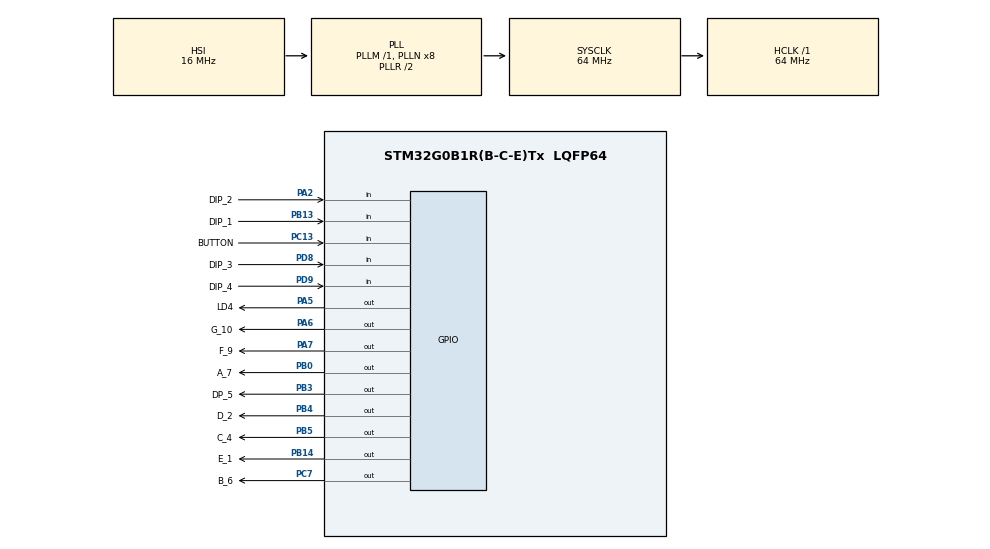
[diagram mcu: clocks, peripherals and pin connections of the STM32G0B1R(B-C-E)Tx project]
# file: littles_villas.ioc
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Mcu.Family=STM32G0
Mcu.Name=STM32G0B1R(B-C-E)Tx
Mcu.Package=LQFP64
PA13.Mode=Serial_Wire
PA13.Signal=SYS_SWDIO
PA14-BOOT0.Mode=Serial_Wire
PA14-BOOT0.Signal=SYS_SWCLK
PA2.GPIO_Label=DIP_2
PA2.GPIO_PuPd=GPIO_PULLUP
PA2.Signal=GPIO_Input
PA5.GPIO_Label=LD4
PA5.GPIO_Speed=GPIO_SPEED_FREQ_VERY_HIGH
PA5.Signal=GPIO_Output
PA6.GPIO_Label=G_10
PA6.Signal=GPIO_Output
PA7.GPIO_Label=F_9
PA7.Signal=GPIO_Output
PB0.GPIO_Label=A_7
PB0.Signal=GPIO_Output
PB13.GPIO_Label=DIP_1
PB13.GPIO_PuPd=GPIO_PULLUP
PB13.Signal=GPIO_Input
PB14.GPIO_Label=E_1
PB14.Signal=GPIO_Output
PB3.GPIO_Label=DP_5
PB3.Signal=GPIO_Output
PB4.GPIO_Label=D_2
PB4.Signal=GPIO_Output
PB5.GPIO_Label=C_4
PB5.Signal=GPIO_Output
PC13.GPIO_Label=BUTTON
PC13.Signal=GPIO_Input
PC7.GPIO_Label=B_6
PC7.Signal=GPIO_Output
PD8.GPIO_Label=DIP_3
PD8.GPIO_PuPd=GPIO_PULLUP
PD8.Signal=GPIO_Input
PD9.GPIO_Label=DIP_4
PD9.GPIO_PuPd=GPIO_PULLUP
PD9.Signal=GPIO_Input
ProjectManager.HeapSize=0x200
ProjectManager.StackSize=0x400
ProjectManager.TargetToolchain=STM32CubeIDE
RCC.ADCFreq_Value=64000000
RCC.AHBFreq_Value=64000000
RCC.CortexFreq_Value=64000000
RCC.EXTERNAL_CLOCK_VALUE=48000
RCC.HCLKFreq_Value=64000000
RCC.HSE_VALUE=8000000
RCC.HSI48_VALUE=48000000
RCC.HSI_VALUE=16000000
RCC.LSE_VALUE=32768
RCC.SYSCLKFreq_VALUE=64000000
RCC.SYSCLKSource=RCC_SYSCLKSOURCE_PLLCLK
RCC.USBFreq_Value=48000000
RCC.VCOOutputFreq_Value=128000000
VP_SYS_VS_DBSignals.Mode=DisableDeadBatterySignals
board=custom

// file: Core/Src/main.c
/* USER CODE BEGIN Header */
/**
  ******************************************************************************
  * @file           : main.c
  * @brief          : Main program body
  ******************************************************************************
  * @attention
  *
  * Copyright (c) 2022 STMicroelectronics.
  * All rights reserved.
  *
  * This software is licensed under terms that can be found in the LICENSE file
  * in the root directory of this software component.
  * If no LICENSE file comes with this software, it is provided AS-IS.
  *
  ******************************************************************************
  */
/* USER CODE END Header */
#include "main.h"

/* USER CODE BEGIN PV */
uint16_t soma;
uint8_t p_1;
uint8_t p_2;
uint8_t p_3;
uint8_t p_4;

/* USER CODE END PV */

void SystemClock_Config(void);
static void MX_GPIO_Init(void);

int main(void)
{

  /* MCU Configuration--------------------------------------------------------*/

  /* Reset of all peripherals, Initializes the Flash interface and the Systick. */
  HAL_Init();

  /* Configure the system clock */
  SystemClock_Config();

  /* Initialize all configured peripherals */
  MX_GPIO_Init();

  /* Infinite loop */
  /* USER CODE BEGIN WHILE */
  while (1)
  {
	p_1 = HAL_GPIO_ReadPin(DIP_1_GPIO_Port, DIP_1_Pin)*8;
	p_2 = HAL_GPIO_ReadPin(DIP_2_GPIO_Port, DIP_2_Pin)*4;
	p_3 = HAL_GPIO_ReadPin(DIP_3_GPIO_Port, DIP_3_Pin)*2;
	p_4 = HAL_GPIO_ReadPin(DIP_4_GPIO_Port, DIP_4_Pin)*1;

	soma = p_1 + p_2 + p_3 + p_4;

	  switch(soma) {
	  	  case 0:
	  		  HAL_GPIO_WritePin(E_1_GPIO_Port, E_1_Pin, 1);
			  HAL_GPIO_WritePin(D_2_GPIO_Port, D_2_Pin, 1);
			  HAL_GPIO_WritePin(C_4_GPIO_Port, C_4_Pin, 1);
			  HAL_GPIO_WritePin(DP_5_GPIO_Port, DP_5_Pin, 0);
			  HAL_GPIO_WritePin(B_6_GPIO_Port, B_6_Pin, 1);
			  HAL_GPIO_WritePin(A_7_GPIO_Port, A_7_Pin, 1);
			  HAL_GPIO_WritePin(F_9_GPIO_Port, F_9_Pin, 1);
			  HAL_GPIO_WritePin(G_10_GPIO_Port, G_10_Pin, 0);
		  	  break;

	  	  case 1:
	  		  HAL_GPIO_WritePin(E_1_GPIO_Port, E_1_Pin, 0);
			  HAL_GPIO_WritePin(D_2_GPIO_Port, D_2_Pin, 0);
			  HAL_GPIO_WritePin(C_4_GPIO_Port, C_4_Pin, 1);
			  HAL_GPIO_WritePin(DP_5_GPIO_Port, DP_5_Pin, 0);
			  HAL_GPIO_WritePin(B_6_GPIO_Port, B_6_Pin, 1);
			  HAL_GPIO_WritePin(A_7_GPIO_Port, A_7_Pin, 0);
			  HAL_GPIO_WritePin(F_9_GPIO_Port, F_9_Pin, 0);
			  HAL_GPIO_WritePin(G_10_GPIO_Port, G_10_Pin, 0);
	  		  break;

	  	  case 2:
	  		  HAL_GPIO_WritePin(E_1_GPIO_Port, E_1_Pin, 1);
			  HAL_GPIO_WritePin(D_2_GPIO_Port, D_2_Pin, 1);
			  HAL_GPIO_WritePin(C_4_GPIO_Port, C_4_Pin, 0);
			  HAL_GPIO_WritePin(DP_5_GPIO_Port, DP_5_Pin, 0);
			  HAL_GPIO_WritePin(B_6_GPIO_Port, B_6_Pin, 1);
			  HAL_GPIO_WritePin(A_7_GPIO_Port, A_7_Pin, 1);
			  HAL_GPIO_WritePin(F_9_GPIO_Port, F_9_Pin, 0);
			  HAL_GPIO_WritePin(G_10_GPIO_Port, G_10_Pin, 1);
	  		  break;

	  	  case 3:
	  		  HAL_GPIO_WritePin(E_1_GPIO_Port, E_1_Pin, 0);
			  HAL_GPIO_WritePin(D_2_GPIO_Port, D_2_Pin, 1);
			  HAL_GPIO_WritePin(C_4_GPIO_Port, C_4_Pin, 1);
			  HAL_GPIO_WritePin(DP_5_GPIO_Port, DP_5_Pin, 0);
			  HAL_GPIO_WritePin(B_6_GPIO_Port, B_6_Pin, 1);
			  HAL_GPIO_WritePin(A_7_GPIO_Port, A_7_Pin, 1);
			  HAL_GPIO_WritePin(F_9_GPIO_Port, F_9_Pin, 0);
			  HAL_GPIO_WritePin(G_10_GPIO_Port, G_10_Pin, 1);
	  		  break;

	  	  case 4:
	  		  HAL_GPIO_WritePin(E_1_GPIO_Port, E_1_Pin, 0);
			  HAL_GPIO_WritePin(D_2_GPIO_Port, D_2_Pin, 0);
			  HAL_GPIO_WritePin(C_4_GPIO_Port, C_4_Pin, 1);
			  HAL_GPIO_WritePin(DP_5_GPIO_Port, DP_5_Pin, 0);
			  HAL_GPIO_WritePin(B_6_GPIO_Port, B_6_Pin, 1);
			  HAL_GPIO_WritePin(A_7_GPIO_Port, A_7_Pin, 0);
			  HAL_GPIO_WritePin(F_9_GPIO_Port, F_9_Pin, 1);
			  HAL_GPIO_WritePin(G_10_GPIO_Port, G_10_Pin, 1);
	  		  break;

	  	  case 5:
	  		  HAL_GPIO_WritePin(E_1_GPIO_Port, E_1_Pin, 0);
			  HAL_GPIO_WritePin(D_2_GPIO_Port, D_2_Pin, 1);
			  HAL_GPIO_WritePin(C_4_GPIO_Port, C_4_Pin, 1);
			  HAL_GPIO_WritePin(DP_5_GPIO_Port, DP_5_Pin, 0);
			  HAL_GPIO_WritePin(B_6_GPIO_Port, B_6_Pin, 0);
			  HAL_GPIO_WritePin(A_7_GPIO_Port, A_7_Pin, 1);
			  HAL_GPIO_WritePin(F_9_GPIO_Port, F_9_Pin, 1);
			  HAL_GPIO_WritePin(G_10_GPIO_Port, G_10_Pin, 1);
	  		  break;

	  	  case 6:
	  		  HAL_GPIO_WritePin(E_1_GPIO_Port, E_1_Pin, 1);
			  HAL_GPIO_WritePin(D_2_GPIO_Port, D_2_Pin, 1);
			  HAL_GPIO_WritePin(C_4_GPIO_Port, C_4_Pin, 1);
			  HAL_GPIO_WritePin(DP_5_GPIO_Port, DP_5_Pin, 0);
			  HAL_GPIO_WritePin(B_6_GPIO_Port, B_6_Pin, 0);
			  HAL_GPIO_WritePin(A_7_GPIO_Port, A_7_Pin, 1);
			  HAL_GPIO_WritePin(F_9_GPIO_Port, F_9_Pin, 1);
			  HAL_GPIO_WritePin(G_10_GPIO_Port, G_10_Pin, 1);
	  		  break;

	  	  case 7:
	  		  HAL_GPIO_WritePin(E_1_GPIO_Port, E_1_Pin, 1);
			  HAL_GPIO_WritePin(D_2_GPIO_Port, D_2_Pin, 0);
			  HAL_GPIO_WritePin(C_4_GPIO_Port, C_4_Pin, 0);
			  HAL_GPIO_WritePin(DP_5_GPIO_Port, DP_5_Pin, 0);
			  HAL_GPIO_WritePin(B_6_GPIO_Port, B_6_Pin, 0);
			  HAL_GPIO_WritePin(A_7_GPIO_Port, A_7_Pin, 1);
			  HAL_GPIO_WritePin(F_9_GPIO_Port, F_9_Pin, 1);
			  HAL_GPIO_WritePin(G_10_GPIO_Port, G_10_Pin, 0);
	  		  break;

	  	  case 8:
	  		  HAL_GPIO_WritePin(E_1_GPIO_Port, E_1_Pin, 1);
			  HAL_GPIO_WritePin(D_2_GPIO_Port, D_2_Pin, 1);
			  HAL_GPIO_WritePin(C_4_GPIO_Port, C_4_Pin, 1);
			  HAL_GPIO_WritePin(DP_5_GPIO_Port, DP_5_Pin, 0);
			  HAL_GPIO_WritePin(B_6_GPIO_Port, B_6_Pin, 1);
			  HAL_GPIO_WritePin(A_7_GPIO_Port, A_7_Pin, 1);
			  HAL_GPIO_WritePin(F_9_GPIO_Port, F_9_Pin, 1);
			  HAL_GPIO_WritePin(G_10_GPIO_Port, G_10_Pin, 1);
	  		  break;

	  	  case 9:
	  		  HAL_GPIO_WritePin(E_1_GPIO_Port, E_1_Pin, 0);
			  HAL_GPIO_WritePin(D_2_GPIO_Port, D_2_Pin, 1);
			  HAL_GPIO_WritePin(C_4_GPIO_Port, C_4_Pin, 1);
			  HAL_GPIO_WritePin(DP_5_GPIO_Port, DP_5_Pin, 0);
			  HAL_GPIO_WritePin(B_6_GPIO_Port, B_6_Pin, 1);
			  HAL_GPIO_WritePin(A_7_GPIO_Port, A_7_Pin, 1);
			  HAL_GPIO_WritePin(F_9_GPIO_Port, F_9_Pin, 1);
			  HAL_GPIO_WritePin(G_10_GPIO_Port, G_10_Pin, 1);
	  		  break;

	  	  case 10:
	  		  HAL_GPIO_WritePin(E_1_GPIO_Port, E_1_Pin, 1);
			  HAL_GPIO_WritePin(D_2_GPIO_Port, D_2_Pin, 0);
			  HAL_GPIO_WritePin(C_4_GPIO_Port, C_4_Pin, 1);
			  HAL_GPIO_WritePin(DP_5_GPIO_Port, DP_5_Pin, 1);
			  HAL_GPIO_WritePin(B_6_GPIO_Port, B_6_Pin, 1);
			  HAL_GPIO_WritePin(A_7_GPIO_Port, A_7_Pin, 1);
			  HAL_GPIO_WritePin(F_9_GPIO_Port, F_9_Pin, 1);
			  HAL_GPIO_WritePin(G_10_GPIO_Port, G_10_Pin, 1);
	  		  break;

	  	  case 11:
	  		  HAL_GPIO_WritePin(E_1_GPIO_Port, E_1_Pin, 1);
		  	  HAL_GPIO_WritePin(D_2_GPIO_Port, D_2_Pin, 1);
		  	  HAL_GPIO_WritePin(C_4_GPIO_Port, C_4_Pin, 1);
		  	  HAL_GPIO_WritePin(DP_5_GPIO_Port, DP_5_Pin, 0);
		  	  HAL_GPIO_WritePin(B_6_GPIO_Port, B_6_Pin, 1);
		  	  HAL_GPIO_WritePin(A_7_GPIO_Port, A_7_Pin, 1);
		  	  HAL_GPIO_WritePin(F_9_GPIO_Port, F_9_Pin, 1);
		  	  HAL_GPIO_WritePin(G_10_GPIO_Port, G_10_Pin, 1);
		  	  break;

	  	  case 12:
	  		  HAL_GPIO_WritePin(E_1_GPIO_Port, E_1_Pin, 1);
	  		  HAL_GPIO_WritePin(D_2_GPIO_Port, D_2_Pin, 1);
	  		  HAL_GPIO_WritePin(C_4_GPIO_Port, C_4_Pin, 0);
	  		  HAL_GPIO_WritePin(DP_5_GPIO_Port, DP_5_Pin, 1);
	  		  HAL_GPIO_WritePin(B_6_GPIO_Port, B_6_Pin, 0);
	  		  HAL_GPIO_WritePin(A_7_GPIO_Port, A_7_Pin, 1);
	  		  HAL_GPIO_WritePin(F_9_GPIO_Port, F_9_Pin, 1);
	  		  HAL_GPIO_WritePin(G_10_GPIO_Port, G_10_Pin, 0);

	  		  break;

	  	  case 13:
	  		  HAL_GPIO_WritePin(E_1_GPIO_Port, E_1_Pin, 1);
	  		  HAL_GPIO_WritePin(D_2_GPIO_Port, D_2_Pin, 1);
	  		  HAL_GPIO_WritePin(C_4_GPIO_Port, C_4_Pin, 1);
	  		  HAL_GPIO_WritePin(DP_5_GPIO_Port, DP_5_Pin, 1);
	  		  HAL_GPIO_WritePin(B_6_GPIO_Port, B_6_Pin, 1);
	  		  HAL_GPIO_WritePin(A_7_GPIO_Port, A_7_Pin, 1);
	  		  HAL_GPIO_WritePin(F_9_GPIO_Port, F_9_Pin, 1);
	  		  HAL_GPIO_WritePin(G_10_GPIO_Port, G_10_Pin, 0);
	  		  break;

	  	  case 14:
	  		  HAL_GPIO_WritePin(E_1_GPIO_Port, E_1_Pin, 1);
	  		  HAL_GPIO_WritePin(D_2_GPIO_Port, D_2_Pin, 1);
	  		  HAL_GPIO_WritePin(C_4_GPIO_Port, C_4_Pin, 0);
	  		  HAL_GPIO_WritePin(DP_5_GPIO_Port, DP_5_Pin, 1);
	  		  HAL_GPIO_WritePin(B_6_GPIO_Port, B_6_Pin, 0);
	  		  HAL_GPIO_WritePin(A_7_GPIO_Port, A_7_Pin, 1);
	  		  HAL_GPIO_WritePin(F_9_GPIO_Port, F_9_Pin, 1);
	  		  HAL_GPIO_WritePin(G_10_GPIO_Port, G_10_Pin, 1);
	  		  break;

	  	  case 15:
	  		  HAL_GPIO_WritePin(E_1_GPIO_Port, E_1_Pin, 1);
	  		  HAL_GPIO_WritePin(D_2_GPIO_Port, D_2_Pin, 0);
	  		  HAL_GPIO_WritePin(C_4_GPIO_Port, C_4_Pin, 0);
	  		  HAL_GPIO_WritePin(DP_5_GPIO_Port, DP_5_Pin, 1);
	  		  HAL_GPIO_WritePin(B_6_GPIO_Port, B_6_Pin, 0);
	  		  HAL_GPIO_WritePin(A_7_GPIO_Port, A_7_Pin, 1);
	  		  HAL_GPIO_WritePin(F_9_GPIO_Port, F_9_Pin, 1);
	  		  HAL_GPIO_WritePin(G_10_GPIO_Port, G_10_Pin, 1);
	  		  break;

	  	  default:
	  		  break;
	  }
    /* USER CODE END WHILE */

  }
}

void SystemClock_Config(void)
{
  RCC_OscInitTypeDef RCC_OscInitStruct = {0};
  RCC_ClkInitTypeDef RCC_ClkInitStruct = {0};

  /** Configure the main internal regulator output voltage
  */
  HAL_PWREx_ControlVoltageScaling(PWR_REGULATOR_VOLTAGE_SCALE1);
  /** Initializes the RCC Oscillators according to the specified parameters
  * in the RCC_OscInitTypeDef structure.
  */
  RCC_OscInitStruct.OscillatorType = RCC_OSCILLATORTYPE_HSI;
  RCC_OscInitStruct.HSIState = RCC_HSI_ON;
  RCC_OscInitStruct.HSIDiv = RCC_HSI_DIV1;
  RCC_OscInitStruct.HSICalibrationValue = RCC_HSICALIBRATION_DEFAULT;
  RCC_OscInitStruct.PLL.PLLState = RCC_PLL_ON;
  RCC_OscInitStruct.PLL.PLLSource = RCC_PLLSOURCE_HSI;
  RCC_OscInitStruct.PLL.PLLM = RCC_PLLM_DIV1;
  RCC_OscInitStruct.PLL.PLLN = 8;
  RCC_OscInitStruct.PLL.PLLP = RCC_PLLP_DIV2;
  RCC_OscInitStruct.PLL.PLLQ = RCC_PLLQ_DIV2;
  RCC_OscInitStruct.PLL.PLLR = RCC_PLLR_DIV2;
  if (HAL_RCC_OscConfig(&RCC_OscInitStruct) != HAL_OK)
  {
    Error_Handler();
  }
  /** Initializes the CPU, AHB and APB buses clocks
  */
  RCC_ClkInitStruct.ClockType = RCC_CLOCKTYPE_HCLK|RCC_CLOCKTYPE_SYSCLK
                              |RCC_CLOCKTYPE_PCLK1;
  RCC_ClkInitStruct.SYSCLKSource = RCC_SYSCLKSOURCE_PLLCLK;
  RCC_ClkInitStruct.AHBCLKDivider = RCC_SYSCLK_DIV1;
  RCC_ClkInitStruct.APB1CLKDivider = RCC_HCLK_DIV1;

  if (HAL_RCC_ClockConfig(&RCC_ClkInitStruct, FLASH_LATENCY_2) != HAL_OK)
  {
    Error_Handler();
  }
}

static void MX_GPIO_Init(void)
{
  GPIO_InitTypeDef GPIO_InitStruct = {0};

  /* GPIO Ports Clock Enable */
  __HAL_RCC_GPIOC_CLK_ENABLE();
  __HAL_RCC_GPIOA_CLK_ENABLE();
  __HAL_RCC_GPIOB_CLK_ENABLE();
  __HAL_RCC_GPIOD_CLK_ENABLE();

  /*Configure GPIO pin Output Level */
  HAL_GPIO_WritePin(GPIOA, LD4_Pin|G_10_Pin|F_9_Pin, GPIO_PIN_RESET);

  /*Configure GPIO pin Output Level */
  HAL_GPIO_WritePin(GPIOB, A_7_Pin|E_1_Pin|DP_5_Pin|D_2_Pin
                          |C_4_Pin, GPIO_PIN_RESET);

  /*Configure GPIO pin Output Level */
  HAL_GPIO_WritePin(B_6_GPIO_Port, B_6_Pin, GPIO_PIN_RESET);

  /*Configure GPIO pin : BUTTON_Pin */
  GPIO_InitStruct.Pin = BUTTON_Pin;
  GPIO_InitStruct.Mode = GPIO_MODE_INPUT;
  GPIO_InitStruct.Pull = GPIO_NOPULL;
  HAL_GPIO_Init(BUTTON_GPIO_Port, &GPIO_InitStruct);

  /*Configure GPIO pin : DIP_2_Pin */
  GPIO_InitStruct.Pin = DIP_2_Pin;
  GPIO_InitStruct.Mode = GPIO_MODE_INPUT;
  GPIO_InitStruct.Pull = GPIO_PULLUP;
  HAL_GPIO_Init(DIP_2_GPIO_Port, &GPIO_InitStruct);

  /*Configure GPIO pin : LD4_Pin */
  GPIO_InitStruct.Pin = LD4_Pin;
  GPIO_InitStruct.Mode = GPIO_MODE_OUTPUT_PP;
  GPIO_InitStruct.Pull = GPIO_NOPULL;
  GPIO_InitStruct.Speed = GPIO_SPEED_FREQ_VERY_HIGH;
  HAL_GPIO_Init(LD4_GPIO_Port, &GPIO_InitStruct);

  /*Configure GPIO pins : G_10_Pin F_9_Pin */
  GPIO_InitStruct.Pin = G_10_Pin|F_9_Pin;
  GPIO_InitStruct.Mode = GPIO_MODE_OUTPUT_PP;
  GPIO_InitStruct.Pull = GPIO_NOPULL;
  GPIO_InitStruct.Speed = GPIO_SPEED_FREQ_LOW;
  HAL_GPIO_Init(GPIOA, &GPIO_InitStruct);

  /*Configure GPIO pins : A_7_Pin E_1_Pin DP_5_Pin D_2_Pin
                           C_4_Pin */
  GPIO_InitStruct.Pin = A_7_Pin|E_1_Pin|DP_5_Pin|D_2_Pin
                          |C_4_Pin;
  GPIO_InitStruct.Mode = GPIO_MODE_OUTPUT_PP;
  GPIO_InitStruct.Pull = GPIO_NOPULL;
  GPIO_InitStruct.Speed = GPIO_SPEED_FREQ_LOW;
  HAL_GPIO_Init(GPIOB, &GPIO_InitStruct);

  /*Configure GPIO pin : DIP_1_Pin */
  GPIO_InitStruct.Pin = DIP_1_Pin;
  GPIO_InitStruct.Mode = GPIO_MODE_INPUT;
  GPIO_InitStruct.Pull = GPIO_PULLUP;
  HAL_GPIO_Init(DIP_1_GPIO_Port, &GPIO_InitStruct);

  /*Configure GPIO pin : B_6_Pin */
  GPIO_InitStruct.Pin = B_6_Pin;
  GPIO_InitStruct.Mode = GPIO_MODE_OUTPUT_PP;
  GPIO_InitStruct.Pull = GPIO_NOPULL;
  GPIO_InitStruct.Speed = GPIO_SPEED_FREQ_LOW;
  HAL_GPIO_Init(B_6_GPIO_Port, &GPIO_InitStruct);

  /*Configure GPIO pins : DIP_3_Pin DIP_4_Pin */
  GPIO_InitStruct.Pin = DIP_3_Pin|DIP_4_Pin;
  GPIO_InitStruct.Mode = GPIO_MODE_INPUT;
  GPIO_InitStruct.Pull = GPIO_PULLUP;
  HAL_GPIO_Init(GPIOD, &GPIO_InitStruct);

}

void Error_Handler(void)
{
  __disable_irq();
  while (1)
  {
  }
}
